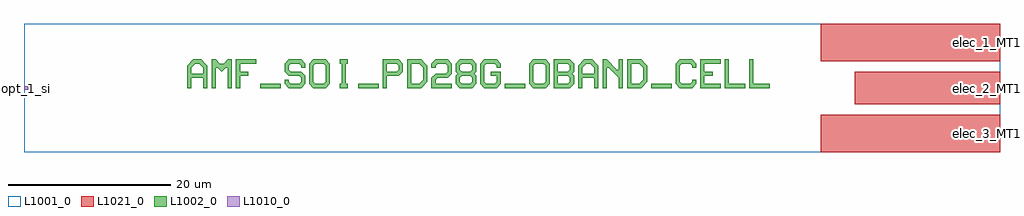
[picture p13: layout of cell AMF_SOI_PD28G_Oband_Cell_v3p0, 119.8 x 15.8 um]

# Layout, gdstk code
import gdstk
lib = gdstk.Library(unit=1e-6, precision=1e-09)
def R(c, l, rs):  # rectangles x0, y0, x1, y1
    for r in rs: c.add(gdstk.rectangle(r[:2], r[2:], *l))
def A(c, l, x, y, w, h, nx, ny, dx, dy):  # array of equal rectangles
    R(c, l, [(x+i*dx, y+j*dy, x+i*dx+w, y+j*dy+h) for i in range(nx) for j in range(ny)])
def P(c, l, *ps):  # polygons
    for p in ps: c.add(gdstk.Polygon(p, *l))
L1001_0 = (1001, 0)
L1002_0 = (1002, 0)
L1010_0 = (1010, 0)
L1021_0 = (1021, 0)

amf_soi_pd28g_oband_cell = lib.new_cell('AMF_SOI_PD28G_Oband_Cell_v3p0')
R(amf_soi_pd28g_oband_cell, L1001_0, [(0,-7.9,119.8,7.9)])
A(amf_soi_pd28g_oband_cell, L1002_0, 41.016, 0, 2.5, 0.5, 3, 1, 18, 0)
R(amf_soi_pd28g_oband_cell, L1002_0, [(29.016,0,31.516,0.5)])
P(amf_soi_pd28g_oband_cell, L1002_0, [(20.016,0),(20.016,2.75),(20.766,3.5),(21.766,3.5),(22.266,3),(21.016,3),(20.516,2.5),(20.516,1.75),(22.016,1.75),(22.016,2.5),(21.516,3),(22.266,3),(22.516,2.75),(22.516,0),(22.016,0),(22.016,1.25),(20.516,1.25),(20.516,0)],
  [(23.016,0),(23.016,3.5),(23.516,3.5),(24.016,3),(24.516,3),(25.016,3.5),(25.516,3.5),(25.516,0),(25.016,0),(25.016,2.5),(24.766,2.5),(24.266,2),(23.766,2.5),(23.516,2.5),(23.516,0)],
  [(26.016,0),(26.016,3.5),(28.516,3.5),(28.516,3),(26.516,3),(26.516,2),(27.516,2),(27.516,1.5),(26.516,1.5),(26.516,0)],
  [(32.516,0),(32.016,0.5),(32.016,1),(32.516,1),(32.516,0.75),(32.766,0.5),(33.766,0.5),(34.016,0.75),(34.016,1.25),(33.766,1.5),(32.516,1.5),(32.016,2),(32.016,3),(32.516,3.5),(34.016,3.5),(34.516,3),(34.516,2.5),(34.016,2.5),(34.016,2.75),(33.766,3),(32.766,3),(32.516,2.75),(32.516,2.25),(32.766,2),(34.016,2),(34.516,1.5),(34.516,0.5),(34.016,0)],
  [(35.516,0),(35.016,0.5),(35.016,3),(35.516,3.5),(37.016,3.5),(37.516,3),(37.516,1.75),(37.016,1.75),(37.016,2.75),(36.766,3),(35.766,3),(35.516,2.75),(35.516,0.75),(35.766,0.5),(36.766,0.5),(37.016,0.75),(37.016,1.75),(37.516,1.75),(37.516,0.5),(37.016,0)],
  [(38.766,0),(38.766,0.5),(39.016,0.5),(39.016,3),(38.766,3),(38.766,3.5),(39.766,3.5),(39.766,3),(39.516,3),(39.516,0.5),(39.766,0.5),(39.766,0)],
  [(44.016,0),(44.016,3.5),(46.016,3.5),(46.516,3),(46.516,2),(46.016,1.5),(44.516,1.5),(44.516,2),(45.766,2),(46.016,2.25),(46.016,2.75),(45.766,3),(44.516,3),(44.516,0)],
  [(47.016,0),(47.016,3.5),(48.766,3.5),(49.266,3),(47.516,3),(47.516,0.5),(48.516,0.5),(49.016,1),(49.016,2.5),(48.516,3),(49.266,3),(49.516,2.75),(49.516,0.75),(48.766,0)],
  [(50.016,0),(50.016,1.25),(50.516,1.75),(51.766,1.75),(52.016,2),(52.016,2.75),(51.766,3),(50.766,3),(50.516,2.75),(50.516,2.5),(50.016,2.5),(50.016,3),(50.516,3.5),(52.016,3.5),(52.516,3),(52.516,1.75),(52.016,1.25),(50.766,1.25),(50.516,1),(50.516,0.5),(52.516,0.5),(52.516,0)],
  [(53.516,0),(53.016,0.5),(53.016,1.5),(53.266,1.75),(53.016,2),(53.016,3),(53.516,3.5),(55.016,3.5),(55.516,3),(53.766,3),(53.516,2.75),(53.516,2.25),(53.766,2),(54.766,2),(55.016,2.25),(55.016,2.75),(54.766,3),(55.516,3),(55.516,2),(55.266,1.75),(55.516,1.5),(53.766,1.5),(53.516,1.25),(53.516,0.75),(53.766,0.5),(54.766,0.5),(55.016,0.75),(55.016,1.25),(54.766,1.5),(55.516,1.5),(55.516,0.5),(55.016,0)],
  [(56.516,0),(56.016,0.5),(56.016,3),(56.516,3.5),(58.016,3.5),(58.516,3),(58.516,2.5),(58.016,2.5),(58.016,2.75),(57.766,3),(56.766,3),(56.516,2.75),(56.516,0.75),(56.766,0.5),(57.766,0.5),(58.016,0.75),(58.016,1.5),(57.266,1.5),(57.266,2),(58.516,2),(58.516,0.5),(58.016,0)],
  [(62.516,0),(62.016,0.5),(62.016,3),(62.516,3.5),(64.016,3.5),(64.516,3),(64.516,1.75),(64.016,1.75),(64.016,2.75),(63.766,3),(62.766,3),(62.516,2.75),(62.516,0.75),(62.766,0.5),(63.766,0.5),(64.016,0.75),(64.016,1.75),(64.516,1.75),(64.516,0.5),(64.016,0)],
  [(65.016,0),(65.016,3.5),(67.016,3.5),(67.516,3),(65.516,3),(65.516,2),(66.766,2),(67.016,2.25),(67.016,2.75),(66.766,3),(67.516,3),(67.516,2),(67.266,1.75),(67.516,1.5),(65.516,1.5),(65.516,0.5),(66.766,0.5),(67.016,0.75),(67.016,1.25),(66.766,1.5),(67.516,1.5),(67.516,0.5),(67.016,0)],
  [(68.016,0),(68.016,2.75),(68.766,3.5),(69.766,3.5),(70.266,3),(69.016,3),(68.516,2.5),(68.516,1.75),(70.016,1.75),(70.016,2.5),(69.516,3),(70.266,3),(70.516,2.75),(70.516,0),(70.016,0),(70.016,1.25),(68.516,1.25),(68.516,0)],
  [(71.016,0),(71.016,3.5),(71.516,3.5),(72.766,2.25),(73.016,2.25),(73.016,3.5),(73.516,3.5),(73.516,0),(73.016,0),(73.016,1.25),(71.766,2.5),(71.516,2.5),(71.516,0)],
  [(74.016,0),(74.016,3.5),(75.766,3.5),(76.266,3),(74.516,3),(74.516,0.5),(75.516,0.5),(76.016,1),(76.016,2.5),(75.516,3),(76.266,3),(76.516,2.75),(76.516,0.75),(75.766,0)],
  [(80.516,0),(80.016,0.5),(80.016,3),(80.516,3.5),(82.016,3.5),(82.516,3),(82.516,2.5),(82.016,2.5),(82.016,2.75),(81.766,3),(80.766,3),(80.516,2.75),(80.516,0.75),(80.766,0.5),(81.766,0.5),(82.016,0.75),(82.016,1),(82.516,1),(82.516,0.5),(82.016,0)],
  [(83.016,0),(83.016,3.5),(85.516,3.5),(85.516,3),(83.516,3),(83.516,2),(84.516,2),(84.516,1.5),(83.516,1.5),(83.516,0.5),(85.516,0.5),(85.516,0)],
  [(86.016,0),(86.016,3.5),(86.516,3.5),(86.516,0.5),(88.516,0.5),(88.516,0)],
  [(89.016,0),(89.016,3.5),(89.516,3.5),(89.516,0.5),(91.516,0.5),(91.516,0)])
R(amf_soi_pd28g_oband_cell, L1010_0, [(0,-0.205,0.5,0.205)])
R(amf_soi_pd28g_oband_cell, L1021_0, [(97.8,-7.9,119.8,-3.3), (102,-2,119.8,2), (97.8,3.3,119.8,7.9)])
amf_soi_pd28g_oband_cell.add(gdstk.Label('opt_1_si', (0,0), layer=1010, texttype=0))
amf_soi_pd28g_oband_cell.add(gdstk.Label('elec_1_MT1', (119.8,5.6), layer=1021, texttype=0))
amf_soi_pd28g_oband_cell.add(gdstk.Label('elec_2_MT1', (119.8,0), layer=1021, texttype=0))
amf_soi_pd28g_oband_cell.add(gdstk.Label('elec_3_MT1', (119.8,-5.6), layer=1021, texttype=0))

lib.write_gds('AMF_SOI_PD28G_Oband_Cell_v3p0.gds')
